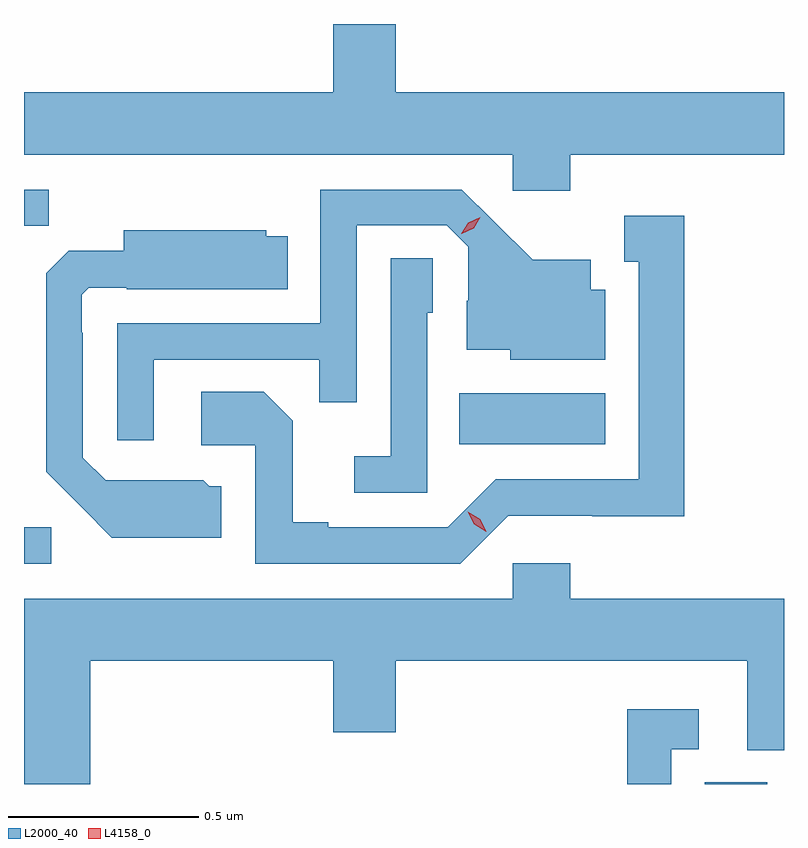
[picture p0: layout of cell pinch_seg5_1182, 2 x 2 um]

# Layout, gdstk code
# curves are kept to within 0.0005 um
import gdstk
lib = gdstk.Library(unit=1e-6, precision=1e-09)
def R(c, l, rs):  # rectangles x0, y0, x1, y1
    for r in rs: c.add(gdstk.rectangle(r[:2], r[2:], *l))
def P(c, l, *ps):  # polygons
    for p in ps: c.add(gdstk.Polygon(p, *l))
L2000_40 = (2000, 40)
L4158_0 = (4158, 0)

pinch_seg5_1182 = lib.new_cell('pinch_seg5_1182')
R(pinch_seg5_1182, L2000_40, [(789.362,837.788,789.526,837.792), (787.57,838.368,787.642,838.464), (788.716,838.682,789.1,838.816), (787.57,839.257,787.635,839.352)])
P(pinch_seg5_1182, L2000_40, [(789.008,839.444),(789.57,839.444),(789.57,839.608),(788.548,839.608),(788.548,839.788),(788.384,839.788),(788.384,839.608),(787.57,839.608),(787.57,839.444),(788.856,839.444),(788.856,839.349),(789.008,839.349)],
  [(787.911,838.905),(788.347,838.905),(788.347,838.792),(788.445,838.792),(788.445,839.259),(788.682,839.259),(788.739,839.202),(788.739,839.06),(788.735,839.06),(788.735,838.931),(788.85,838.931),(788.85,838.904),(789.1,838.904),(789.1,839.089),(789.061,839.089),(789.061,839.167),(788.909,839.167),(788.722,839.352),(788.349,839.352),(788.349,839.001),(787.815,839.001),(787.815,838.692),(787.911,838.692)],
  [(788.844,838.494),(789.066,838.494),(789.066,838.493),(789.307,838.493),(789.307,839.284),(789.149,839.284),(789.149,839.163),(789.188,839.163),(789.188,838.59),(788.811,838.59),(788.685,838.464),(788.371,838.464),(788.371,838.477),(788.277,838.477),(788.277,838.744),(788.201,838.82),(788.037,838.82),(788.037,838.68),(788.178,838.68),(788.178,838.368),(788.718,838.368)],
  [(788.089,838.572),(788.058,838.572),(788.042,838.588),(787.908,838.588),(787.908,838.587),(787.785,838.587),(787.725,838.647),(787.725,838.976),(787.722,838.976),(787.722,839.076),(787.74,839.094),(787.84,839.094),(787.84,839.09),(788.264,839.09),(788.264,839.23),(788.208,839.23),(788.208,839.245),(787.832,839.245),(787.832,839.191),(787.688,839.191),(787.629,839.132),(787.629,838.61),(787.801,838.436),(788.089,838.436)],
  [(788.631,839.028),(788.646,839.028),(788.646,839.171),(788.535,839.171),(788.535,838.651),(788.439,838.651),(788.439,838.554),(788.631,838.554)],
  [(787.744,838.112),(788.384,838.112),(788.384,837.924),(788.548,837.924),(788.548,838.112),(789.473,838.112),(789.473,837.877),(789.57,837.877),(789.57,838.276),(789.008,838.276),(789.008,838.369),(788.856,838.369),(788.856,838.276),(787.57,838.276),(787.57,837.788),(787.744,837.788)],
  [(789.273,837.879),(789.346,837.879),(789.346,837.985),(789.157,837.985),(789.157,837.788),(789.273,837.788)])
P(pinch_seg5_1182, L4158_0, [(788.721,839.236),(788.721,839.236),(788.739,839.265),(788.771,839.28),(788.771,839.28),(788.771,839.28),(788.753,839.25),(788.722,839.236)],
  [(788.787,838.452),(788.755,838.471),(788.738,838.504),(788.738,838.504),(788.738,838.504),(788.77,838.485),(788.787,838.452),(788.787,838.452)])

lib.write_gds('pinch_seg5_1182.gds')
